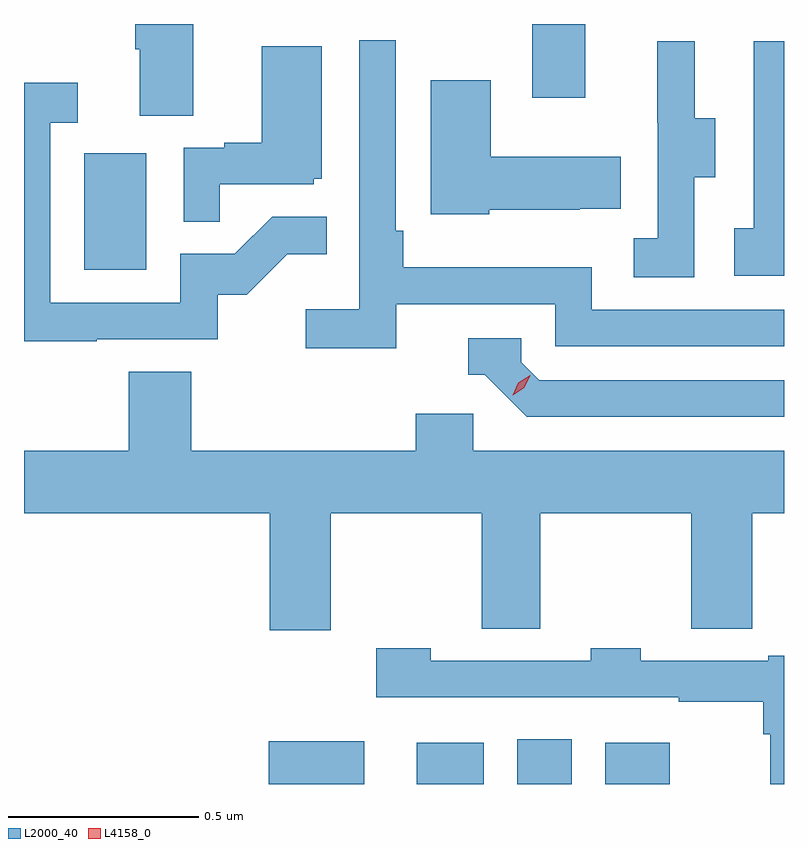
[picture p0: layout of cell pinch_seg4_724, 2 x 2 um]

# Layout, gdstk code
import gdstk
lib = gdstk.Library(unit=1e-6, precision=1e-09)
def R(c, l, rs):  # rectangles x0, y0, x1, y1
    for r in rs: c.add(gdstk.rectangle(r[:2], r[2:], *l))
def P(c, l, *ps):  # polygons
    for p in ps: c.add(gdstk.Polygon(p, *l))
L2000_40 = (2000, 40)
L4158_0 = (4158, 0)

pinch_seg4_724 = lib.new_cell('pinch_seg4_724')
R(pinch_seg4_724, L2000_40, [(839.576,814.755,839.827,814.867), (839.966,814.755,840.142,814.864), (840.23,814.755,840.373,814.873), (840.461,814.755,840.631,814.864), (839.09,816.108,839.254,816.415), (840.269,816.561,840.409,816.755)])
P(pinch_seg4_724, L2000_40, [(839.377,816.755),(839.225,816.755),(839.225,816.688),(839.237,816.688),(839.237,816.514),(839.377,816.514)],
  [(839.912,816.018),(840.33,816.018),(840.33,815.907),(840.932,815.907),(840.932,816.003),(840.426,816.003),(840.426,816.115),(839.93,816.115),(839.93,816.211),(839.91,816.211),(839.91,816.712),(839.814,816.712),(839.814,816.004),(839.673,816.004),(839.673,815.902),(839.912,815.902)],
  [(840.932,816.709),(840.852,816.709),(840.852,816.218),(840.801,816.218),(840.801,816.093),(840.932,816.093)],
  [(840.696,816.352),(840.751,816.352),(840.751,816.507),(840.697,816.507),(840.697,816.709),(840.599,816.709),(840.599,816.495),(840.6,816.495),(840.6,816.191),(840.537,816.191),(840.537,816.088),(840.696,816.088)],
  [(839.447,816.333),(839.694,816.333),(839.694,816.348),(839.716,816.348),(839.716,816.697),(839.558,816.697),(839.558,816.442),(839.459,816.442),(839.459,816.429),(839.352,816.429),(839.352,816.235),(839.447,816.235)],
  [(840.156,816.266),(840.395,816.266),(840.395,816.269),(840.503,816.269),(840.503,816.406),(840.16,816.406),(840.16,816.607),(840.002,816.607),(840.002,816.254),(840.156,816.254)],
  [(839.123,815.925),(839.442,815.925),(839.442,816.042),(839.518,816.042),(839.625,816.149),(839.729,816.149),(839.729,816.248),(839.585,816.248),(839.487,816.15),(839.343,816.15),(839.343,816.021),(839.001,816.021),(839.001,816.495),(839.074,816.495),(839.074,816.601),(838.932,816.601),(838.932,815.92),(839.123,815.92)],
  [(840.932,815.817),(840.288,815.817),(840.24,815.865),(840.24,815.928),(840.101,815.928),(840.101,815.832),(840.144,815.832),(840.255,815.721),(840.932,815.721)],
  [(839.739,815.468),(840.136,815.468),(840.136,815.164),(840.29,815.164),(840.29,815.468),(840.688,815.468),(840.688,815.164),(840.848,815.164),(840.848,815.468),(840.932,815.468),(840.932,815.632),(840.114,815.632),(840.114,815.73),(839.963,815.73),(839.963,815.632),(839.372,815.632),(839.372,815.84),(839.207,815.84),(839.207,815.632),(838.932,815.632),(838.932,815.468),(839.579,815.468),(839.579,815.16),(839.739,815.16)],
  [(840.932,815.092),(840.89,815.092),(840.89,815.079),(840.555,815.079),(840.555,815.112),(840.423,815.112),(840.423,815.079),(840.003,815.079),(840.003,815.112),(839.859,815.112),(839.859,814.983),(840.655,814.983),(840.655,814.971),(840.877,814.971),(840.877,814.886),(840.896,814.886),(840.896,814.755),(840.932,814.755)])
P(pinch_seg4_724, L4158_0, [(840.218,815.778),(840.218,815.778),(840.233,815.811),(840.264,815.831),(840.264,815.831),(840.264,815.83),(840.248,815.798),(840.218,815.778)])

lib.write_gds('pinch_seg4_724.gds')
